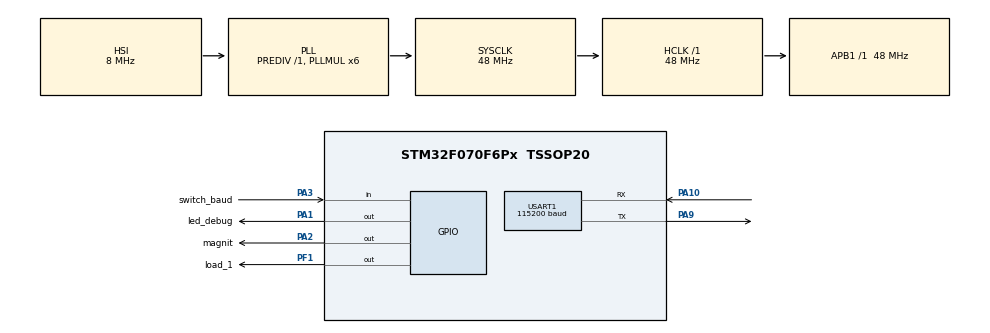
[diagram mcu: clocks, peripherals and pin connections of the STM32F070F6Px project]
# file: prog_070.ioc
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Mcu.Family=STM32F0
Mcu.Name=STM32F070F6Px
Mcu.Package=TSSOP20
NVIC.USART1_IRQn=true\:0\:0\:false\:false\:true\:true\:true
PA1.GPIO_Label=led_debug
PA1.Signal=GPIO_Output
PA10.Mode=Asynchronous
PA10.Signal=USART1_RX
PA13.Mode=Serial_Wire
PA13.Signal=SYS_SWDIO
PA14.Mode=Serial_Wire
PA14.Signal=SYS_SWCLK
PA2.GPIO_Label=magnit
PA2.Signal=GPIO_Output
PA3.GPIO_Label=switch_baud
PA3.GPIO_PuPd=GPIO_PULLUP
PA3.Signal=GPIO_Input
PA9.Mode=Asynchronous
PA9.Signal=USART1_TX
PF1-OSC_OUT.GPIO_Label=load_1
PF1-OSC_OUT.Signal=GPIO_Output
ProjectManager.HeapSize=0x200
ProjectManager.StackSize=0x400
ProjectManager.TargetToolchain=MDK-ARM V5
RCC.AHBFreq_Value=48000000
RCC.APB1Freq_Value=48000000
RCC.APB1TimFreq_Value=48000000
RCC.HCLKFreq_Value=48000000
RCC.PLLMUL=RCC_PLL_MUL6
RCC.SYSCLKFreq_VALUE=48000000
RCC.SYSCLKSource=RCC_SYSCLKSOURCE_PLLCLK
USART1.BaudRate=115200
USART1.VirtualMode=VM_ASYNC
board=custom

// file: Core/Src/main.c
/* USER CODE BEGIN Header */
/**
  ******************************************************************************
  * @file           : main.c
  * @brief          : Main program body
  ******************************************************************************
  * @attention
  *
  * <h2><center>&copy; Copyright (c) 2021 STMicroelectronics.
  * All rights reserved.</center></h2>
  *
  * This software component is licensed by ST under BSD 3-Clause license,
  * the "License"; You may not use this file except in compliance with the
  * License. You may obtain a copy of the License at:
  *                        opensource.org/licenses/BSD-3-Clause
  *
  ******************************************************************************
  */
/* USER CODE END Header */
#include "main.h"
#include "usart.h"
#include "gpio.h"

void SystemClock_Config(void);

/* USER CODE BEGIN 0 */
uint8_t status=0;																																										//переменная для хранения статуса
uint8_t command=0;																																									//команды для передачи в main
uint32_t uart_baud=115200;																																					//скорость UART

extern uint8_t msg_open[];
extern uint8_t msg_open_tx[];
extern uint8_t msg_status[];
extern uint8_t msg_status_close[];
extern uint8_t msg_status_open[];
extern uint8_t msg_limitswitch[];

void command_shell()																																									//функция для обработки команд в переменной command
{
	if(command){
		if(command&(1<<0)){																																								//команда открыть закрыть
			command&=~(1<<0);
			HAL_Delay(DELAY_SEND);
			status^=(1<<0);
			GPIOA->ODR^=(1<<2);
			GPIOF->ODR^=(1<<1);
			//HAL_UART_Transmit(&huart1,msg_open_tx,PACKET_SIZE,100);
		}else if(command&(1<<1)){																																					//запрос статуса
			command&=~(1<<1);
			HAL_Delay(DELAY_SEND);
			//HAL_UART_Transmit(&huart1,(status&(1<<0))?msg_status_close:msg_status_open,PACKET_SIZE,100);		//отсылаем текущий статус
		}
	}
}
/* USER CODE END 0 */

int main(void)
{

  /* MCU Configuration--------------------------------------------------------*/

  /* Reset of all peripherals, Initializes the Flash interface and the Systick. */
  HAL_Init();

  /* Configure the system clock */
  SystemClock_Config();

  /* Initialize all configured peripherals */
  MX_GPIO_Init();

  MX_USART1_UART_Init();
  /* USER CODE BEGIN 2 */
	HAL_Delay(300);
	//после пересборки проекта в кубе, требуется в инициализацию юарта вставить переменную uart_baud, вместо скорости
	if(!(GPIOA->IDR&(1<<3))) {																																					//если перемычка запаянна, то скорость 9600 иначе 115200.
		//uart_baud=9600;
		//MX_USART1_UART_Init();
	}
	USART1->CR1 = USART_CR1_UE;
	NVIC_EnableIRQ(USART1_IRQn); USART1->CR1 |= USART_CR1_TE | USART_CR1_RE | USART_CR1_RXNEIE;        //разрешение прерывания по приему данных UART1
  /* USER CODE END 2 */
	GPIOA->ODR&=~(1<<2);
	GPIOF->ODR&=~(1<<1);
  /* Infinite loop */
  /* USER CODE BEGIN WHILE */
	uint16_t del_toggle=0;
  while (1)
  {
		command_shell();																		//обработка команд

		del_toggle++;																				//сквозная задержка для мигания отладочным светодиодом
		if(del_toggle>600){																	//задержка на 600мс
			del_toggle=0;
			GPIOA->ODR^=(1<<1);																//мигаем
			HAL_Delay(10);																		//мигаем
			GPIOA->ODR^=(1<<1);																//мигаем
		}
		HAL_Delay(1);
    /* USER CODE END WHILE */

  }
}

void SystemClock_Config(void)
{
  RCC_OscInitTypeDef RCC_OscInitStruct = {0};
  RCC_ClkInitTypeDef RCC_ClkInitStruct = {0};
  RCC_PeriphCLKInitTypeDef PeriphClkInit = {0};

  /** Initializes the RCC Oscillators according to the specified parameters
  * in the RCC_OscInitTypeDef structure.
  */
  RCC_OscInitStruct.OscillatorType = RCC_OSCILLATORTYPE_HSI;
  RCC_OscInitStruct.HSIState = RCC_HSI_ON;
  RCC_OscInitStruct.HSICalibrationValue = RCC_HSICALIBRATION_DEFAULT;
  RCC_OscInitStruct.PLL.PLLState = RCC_PLL_ON;
  RCC_OscInitStruct.PLL.PLLSource = RCC_PLLSOURCE_HSI;
  RCC_OscInitStruct.PLL.PLLMUL = RCC_PLL_MUL6;
  RCC_OscInitStruct.PLL.PREDIV = RCC_PREDIV_DIV1;
  if (HAL_RCC_OscConfig(&RCC_OscInitStruct) != HAL_OK)
  {
    Error_Handler();
  }
  /** Initializes the CPU, AHB and APB buses clocks
  */
  RCC_ClkInitStruct.ClockType = RCC_CLOCKTYPE_HCLK|RCC_CLOCKTYPE_SYSCLK
                              |RCC_CLOCKTYPE_PCLK1;
  RCC_ClkInitStruct.SYSCLKSource = RCC_SYSCLKSOURCE_PLLCLK;
  RCC_ClkInitStruct.AHBCLKDivider = RCC_SYSCLK_DIV1;
  RCC_ClkInitStruct.APB1CLKDivider = RCC_HCLK_DIV1;

  if (HAL_RCC_ClockConfig(&RCC_ClkInitStruct, FLASH_LATENCY_1) != HAL_OK)
  {
    Error_Handler();
  }
  PeriphClkInit.PeriphClockSelection = RCC_PERIPHCLK_USART1;
  PeriphClkInit.Usart1ClockSelection = RCC_USART1CLKSOURCE_PCLK1;
  if (HAL_RCCEx_PeriphCLKConfig(&PeriphClkInit) != HAL_OK)
  {
    Error_Handler();
  }
}

void Error_Handler(void)
{
  __disable_irq();
  while (1)
  {
  }
}

/************************ (C) COPYRIGHT STMicroelectronics *****END OF FILE****/
